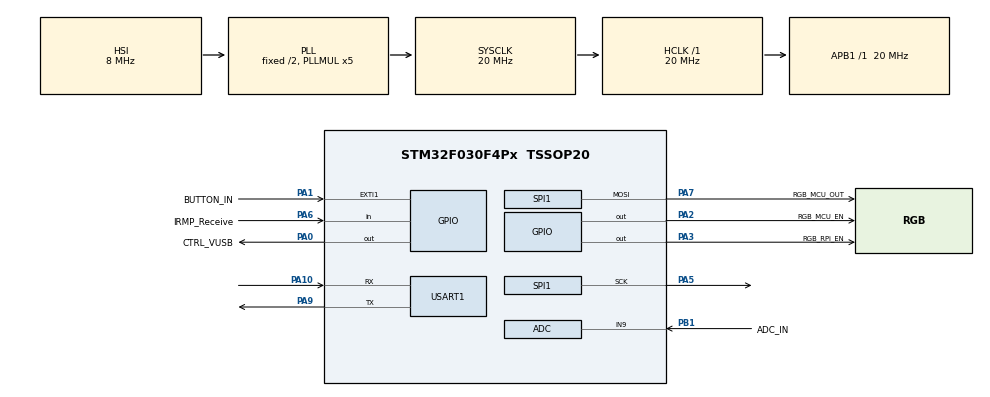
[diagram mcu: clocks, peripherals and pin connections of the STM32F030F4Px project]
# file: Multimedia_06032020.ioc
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Dma.Request0=SPI1_TX
Dma.SPI1_TX.0.Direction=DMA_MEMORY_TO_PERIPH
Dma.SPI1_TX.0.Instance=DMA1_Channel3
Dma.SPI1_TX.0.MemDataAlignment=DMA_MDATAALIGN_BYTE
Dma.SPI1_TX.0.MemInc=DMA_MINC_ENABLE
Dma.SPI1_TX.0.Mode=DMA_NORMAL
Dma.SPI1_TX.0.PeriphDataAlignment=DMA_PDATAALIGN_BYTE
Dma.SPI1_TX.0.PeriphInc=DMA_PINC_DISABLE
Dma.SPI1_TX.0.Priority=DMA_PRIORITY_LOW
Mcu.Family=STM32F0
Mcu.Name=STM32F030F4Px
Mcu.Package=TSSOP20
NVIC.DMA1_Channel2_3_IRQn=true\:0\:0\:false\:false\:true\:false\:true
NVIC.EXTI0_1_IRQn=true\:0\:0\:false\:true\:true\:3\:true\:true
NVIC.TIM14_IRQn=true\:0\:0\:false\:true\:true\:1\:true\:true
NVIC.TIM16_IRQn=true\:0\:0\:false\:false\:true\:true\:true
NVIC.TIM1_BRK_UP_TRG_COM_IRQn=true\:0\:0\:false\:false\:true\:true\:true
NVIC.TIM1_CC_IRQn=true\:0\:0\:false\:true\:true\:4\:true\:true
NVIC.USART1_IRQn=true\:0\:0\:false\:true\:true\:2\:true\:true
PA0.GPIO_Label=CTRL_VUSB
PA0.Signal=GPIO_Output
PA1.GPIO_Label=BUTTON_IN
PA1.GPIO_ModeDefaultEXTI=GPIO_MODE_IT_FALLING
PA1.GPIO_PuPd=GPIO_PULLUP
PA1.Signal=GPXTI1
PA10.Mode=Asynchronous
PA10.Signal=USART1_RX
PA2.GPIO_Label=RGB_MCU_EN
PA2.Signal=GPIO_Output
PA3.GPIO_Label=RGB_RPi_EN
PA3.Signal=GPIO_Output
PA5.Mode=TX_Only_Simplex_Unidirect_Master
PA5.Signal=SPI1_SCK
PA6.GPIO_Label=IRMP_Receive
PA6.Signal=GPIO_Input
PA7.GPIO_Label=RGB_MCU_OUT
PA7.Mode=TX_Only_Simplex_Unidirect_Master
PA7.Signal=SPI1_MOSI
PA9.Mode=Asynchronous
PA9.Signal=USART1_TX
PB1.GPIO_Label=ADC_IN
PB1.Mode=IN9
PB1.Signal=ADC_IN9
ProjectManager.HeapSize=0x200
ProjectManager.StackSize=0x400
ProjectManager.TargetToolchain=STM32CubeIDE
RCC.AHBFreq_Value=20000000
RCC.APB1Freq_Value=20000000
RCC.APB1TimFreq_Value=20000000
RCC.HCLKFreq_Value=20000000
RCC.PLLMUL=RCC_PLL_MUL5
RCC.SYSCLKFreq_VALUE=20000000
RCC.SYSCLKSource=RCC_SYSCLKSOURCE_PLLCLK
SPI1.CalculateBaudRate=10.0 MBits/s
SPI1.DataSize=SPI_DATASIZE_7BIT
SPI1.Direction=SPI_DIRECTION_2LINES
SPI1.Mode=SPI_MODE_MASTER
SPI1.VirtualType=VM_MASTER
TIM1.Period=50
TIM1.Prescaler=32000
TIM14.ClockDivision=TIM_CLOCKDIVISION_DIV2
TIM14.Period=1599
TIM16.Period=63999
TIM16.Prescaler=3124
USART1.VirtualMode-Asynchronous=VM_ASYNC
VP_TIM14_VS_ClockSourceINT.Mode=Enable_Timer
VP_TIM16_VS_ClockSourceINT.Mode=Enable_Timer
VP_TIM1_VS_ClockSourceINT.Mode=Internal
board=custom

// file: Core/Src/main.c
/* USER CODE BEGIN Header */
/**
  ******************************************************************************
  * @file           : main.c
  * @brief          : Main program body
  ******************************************************************************
  * @attention
  *
  * <h2><center>&copy; Copyright (c) 2020 STMicroelectronics.
  * All rights reserved.</center></h2>
  *
  * This software component is licensed by ST under BSD 3-Clause license,
  * the "License"; You may not use this file except in compliance with the
  * License. You may obtain a copy of the License at:
  *                        opensource.org/licenses/BSD-3-Clause
  *
  ******************************************************************************
  */
/************************************************************************************************************************************************************

 MultimediaCase for Raspberry Pi - by Joy-IT
 OpenSource-Firmware published under MIT-License

/************************************************************************************************************************************************************

 The following code defines the firmware for the STM32 controller of the RB-MultimediaCase01. The code uses the
 Infrared-Multiprotocoll-Decoder (IRMP - licensed under GNU General Public License v3.0) to recognize IR-remote signals
 and process these. The WS2812B LEDs can be controlled with the STM32 controller or with the Raspberry Pi. The Case Button
 is handled by an interrupt routine.
 The STM32 is mainly used to control the power status of the connected Raspberry Pi. It is able to power the Raspberry Pi via
 the 5 V pins and can send a shutdown-command via serial (which is processed via an addon). After shutdown of the Raspberry Pi
 the STM32 cuts the 5 V supply.
 During the different routines (starting, shutdown, learning) the STM32 takes the control of the 4 WS2812B and displays
 the actual active routine with the help of colors.

 */

/* USER CODE END Header */

#include "main.h"

/* USER CODE BEGIN Includes */
#include "irmp.h"
#include "ws28xx.h"
/* USER CODE END Includes */

/* USER CODE BEGIN PD */
IRMP_DATA irmp_data;
IRMP_DATA irmp_new_data;
IRMP_DATA irmp_temp_data;

PAGEError = 0;
/* USER CODE END PD */

ADC_HandleTypeDef hadc;

SPI_HandleTypeDef hspi1;
DMA_HandleTypeDef hdma_spi1_tx;

TIM_HandleTypeDef htim1;
TIM_HandleTypeDef htim14;
TIM_HandleTypeDef htim16;

UART_HandleTypeDef huart1;

/* USER CODE BEGIN PV */

/*** Definition of the shutdown message, which is send via the serial interface ***/

uint8_t shutdownMessage[] = "xxxShutdownRaspberryPixxx\n\r";

/* USER CODE END PV */

void SystemClock_Config(void);
static void MX_GPIO_Init(void);
static void MX_DMA_Init(void);
static void MX_ADC_Init(void);
static void MX_SPI1_Init(void);
static void MX_TIM14_Init(void);
static void MX_USART1_UART_Init(void);
static void MX_TIM1_Init(void);
static void MX_TIM16_Init(void);
static void MX_NVIC_Init(void);
/* USER CODE BEGIN PFP */
void RPi_Power_Up();
void RPi_Power_Down();

void RGB_RPi();
void RGB_MCU();

static void WS2812_ChangeColor(ws28xx_Color_TypeDef Color);

void flashConfig(void);

void flashValue(uint32_t address, uint32_t data);

void learningmode(void);

/* USER CODE END PFP */

int main(void)
{

  /* MCU Configuration--------------------------------------------------------*/

  /* Reset of all peripherals, Initializes the Flash interface and the Systick. */
  HAL_Init();

  /* Configure the system clock */
  SystemClock_Config();

  /* Initialize all configured peripherals */
  MX_GPIO_Init();
  MX_DMA_Init();
  MX_ADC_Init();
  MX_SPI1_Init();
  MX_TIM14_Init();
  MX_USART1_UART_Init();
  MX_TIM1_Init();
  MX_TIM16_Init();

  /* Initialize interrupts */
  MX_NVIC_Init();
  /* USER CODE BEGIN 2 */

  /*** Loading IRMP configuration from flash***/
  irmp_data.protocol = *(uint8_t *)irmp_protocol_FlashAdress;
  irmp_data.address = *(uint16_t *)irmp_address_FlashAdress;
  irmp_data.command = *(uint16_t *)irmp_command_FlashAdress;

  /*** Initialization of IRMP ***/
  irmp_init();

  /*** STM32 taking the controll over WS2812b LEDs and set these to red***/
  RGB_MCU();

	  WS2812_ChangeColor(ws28xx_Color_Red);
	  HAL_Delay(100);
	  WS2812_ChangeColor(ws28xx_Color_Red);

  /*** Making sure, that the Raspberry Pi is powered down ***/
  RPi_Power_Down();

  /* USER CODE END 2 */

  /* Infinite loop */
  /* USER CODE BEGIN WHILE */

  /*** Here starts the infinite loop. This loop manages the power status via button and IR-remote and the learning mode. ***/
  while (1)
  {
    /* USER CODE END WHILE */

    /* USER CODE BEGIN 3 */

	  /*** learning mode check ***/
	  if(!strcmp(Rx_data,"X04\r"))
	  	  {
		  	  strcpy(Rx_data, " ");
		  	  learningmode();
	  	  }

	  	  /*** checking for IRMP data or button press ***/
	  	  if (irmp_get_data (&irmp_temp_data) || button > 0)
	  	  	{
	  		  	  __HAL_TIM_DISABLE_IT(&htim14, TIM_IT_UPDATE);
	  		  	  HAL_NVIC_DisableIRQ(EXTI0_1_IRQn);
	  		  	  HAL_Delay(50);

	  		  	  /*** shutdown routine ***/

	  		  	  if (powerUP == 1)
	  		  	  {

		  		  	  if ((((irmp_temp_data.command == irmp_data.command) && (irmp_temp_data.address == irmp_data.address) && (irmp_temp_data.protocol == irmp_data.protocol) )|| (((button > 0)))))
		  		  	  {
		  		  		  memset(&irmp_temp_data, 0, sizeof(IRMP_DATA));
		  		  		  RGB_MCU();
		  		  		  HAL_UART_Transmit(&huart1, (uint8_t *)shutdownMessage, sizeof(shutdownMessage), sizeof(shutdownMessage));
		  		    	  WS2812_ChangeColor(ws28xx_Color_Black);
		  		    	  HAL_Delay(100);
		  		    	  __HAL_TIM_CLEAR_IT(&htim16 ,TIM_IT_UPDATE);
		  		    	  __HAL_TIM_SET_COUNTER(&htim16, 0);
		  		    	  HAL_TIM_Base_Start_IT(&htim16);
		  		    	  timer = shutDownTime;
		  		    	  while(timer > 0)
		  		    		  {
		  		    		  	  ws28xx_fadeRed();
		  		    		  }
		  		    	  WS2812_ChangeColor(ws28xx_Color_Red);
		  		  		  HAL_Delay(50);
		  		  		  RPi_Power_Down();
		  		  		  powerUP = 0;
		  		  		  button = 0;

		  		  	  }

					  }

					else if (powerUP == 0)
					{

						/*** powerup routine ***/

						if ((((irmp_temp_data.command == irmp_data.command) && (irmp_temp_data.address == irmp_data.address) && (irmp_temp_data.protocol == irmp_data.protocol) )||(( (button > 0)))))
						  {
							  memset(&irmp_temp_data, 0, sizeof(IRMP_DATA));

							  RPi_Power_Up();
							  WS2812_ChangeColor(ws28xx_Color_Black);
							  HAL_Delay(100);
							  __HAL_TIM_CLEAR_IT(&htim16 ,TIM_IT_UPDATE);
							  __HAL_TIM_SET_COUNTER(&htim16, 0);
							  HAL_TIM_Base_Start_IT(&htim16);
							  timer = bootUpTime;

							  /*** if startup complete "X05/r" is sent via serial interface, the timer is reseted ***/
							  while(timer > 0)
								  {
									  ws28xx_fadeGreen();
									  if(!strcmp(Rx_data,"X05\r"))
										  {
											  strcpy(Rx_data, " ");
											  timer = 0;
										  }
								  }
							  WS2812_ChangeColor(ws28xx_Color_Green);
							  HAL_Delay(50);

							  RGB_RPi();
							  powerUP = 1;
							  button = 0;

					}
					}

	  		  	__HAL_TIM_ENABLE_IT(&htim14, TIM_IT_UPDATE);

	  		  	__HAL_GPIO_EXTI_CLEAR_FLAG(BUTTON_IN_Pin);
	  		  	__HAL_GPIO_EXTI_CLEAR_IT(BUTTON_IN_Pin);
	  		  	  HAL_NVIC_ClearPendingIRQ(EXTI0_1_IRQn);
	  		  	  HAL_NVIC_EnableIRQ(EXTI0_1_IRQn);
	  		  	  HAL_Delay(50);
	  	  	}

	    }

  /* USER CODE END 3 */
}

void SystemClock_Config(void)
{
  RCC_OscInitTypeDef RCC_OscInitStruct = {0};
  RCC_ClkInitTypeDef RCC_ClkInitStruct = {0};
  RCC_PeriphCLKInitTypeDef PeriphClkInit = {0};

  /** Initializes the CPU, AHB and APB busses clocks
  */
  RCC_OscInitStruct.OscillatorType = RCC_OSCILLATORTYPE_HSI|RCC_OSCILLATORTYPE_HSI14;
  RCC_OscInitStruct.HSIState = RCC_HSI_ON;
  RCC_OscInitStruct.HSI14State = RCC_HSI14_ON;
  RCC_OscInitStruct.HSICalibrationValue = RCC_HSICALIBRATION_DEFAULT;
  RCC_OscInitStruct.HSI14CalibrationValue = 16;
  RCC_OscInitStruct.PLL.PLLState = RCC_PLL_ON;
  RCC_OscInitStruct.PLL.PLLSource = RCC_PLLSOURCE_HSI;
  RCC_OscInitStruct.PLL.PLLMUL = RCC_PLL_MUL5;
  RCC_OscInitStruct.PLL.PREDIV = RCC_PREDIV_DIV1;
  if (HAL_RCC_OscConfig(&RCC_OscInitStruct) != HAL_OK)
  {
    Error_Handler();
  }
  /** Initializes the CPU, AHB and APB busses clocks
  */
  RCC_ClkInitStruct.ClockType = RCC_CLOCKTYPE_HCLK|RCC_CLOCKTYPE_SYSCLK
                              |RCC_CLOCKTYPE_PCLK1;
  RCC_ClkInitStruct.SYSCLKSource = RCC_SYSCLKSOURCE_PLLCLK;
  RCC_ClkInitStruct.AHBCLKDivider = RCC_SYSCLK_DIV1;
  RCC_ClkInitStruct.APB1CLKDivider = RCC_HCLK_DIV1;

  if (HAL_RCC_ClockConfig(&RCC_ClkInitStruct, FLASH_LATENCY_0) != HAL_OK)
  {
    Error_Handler();
  }
  PeriphClkInit.PeriphClockSelection = RCC_PERIPHCLK_USART1;
  PeriphClkInit.Usart1ClockSelection = RCC_USART1CLKSOURCE_PCLK1;
  if (HAL_RCCEx_PeriphCLKConfig(&PeriphClkInit) != HAL_OK)
  {
    Error_Handler();
  }
}

/**
  * @brief NVIC Configuration.
  * @retval None
  */
static void MX_NVIC_Init(void)
{
  /* TIM14_IRQn interrupt configuration */
  HAL_NVIC_SetPriority(TIM14_IRQn, 0, 0);
  HAL_NVIC_EnableIRQ(TIM14_IRQn);
  /* USART1_IRQn interrupt configuration */
  HAL_NVIC_SetPriority(USART1_IRQn, 0, 0);
  HAL_NVIC_EnableIRQ(USART1_IRQn);
  /* EXTI0_1_IRQn interrupt configuration */
  HAL_NVIC_SetPriority(EXTI0_1_IRQn, 0, 0);
  HAL_NVIC_EnableIRQ(EXTI0_1_IRQn);
  /* TIM1_CC_IRQn interrupt configuration */
  HAL_NVIC_SetPriority(TIM1_CC_IRQn, 0, 0);
  HAL_NVIC_EnableIRQ(TIM1_CC_IRQn);
}

static void MX_ADC_Init(void)
{

  ADC_ChannelConfTypeDef sConfig = {0};

  /** Configure the global features of the ADC (Clock, Resolution, Data Alignment and number of conversion)
  */
  hadc.Instance = ADC1;
  hadc.Init.ClockPrescaler = ADC_CLOCK_ASYNC_DIV1;
  hadc.Init.Resolution = ADC_RESOLUTION_12B;
  hadc.Init.DataAlign = ADC_DATAALIGN_RIGHT;
  hadc.Init.ScanConvMode = ADC_SCAN_DIRECTION_FORWARD;
  hadc.Init.EOCSelection = ADC_EOC_SINGLE_CONV;
  hadc.Init.LowPowerAutoWait = DISABLE;
  hadc.Init.LowPowerAutoPowerOff = DISABLE;
  hadc.Init.ContinuousConvMode = DISABLE;
  hadc.Init.DiscontinuousConvMode = DISABLE;
  hadc.Init.ExternalTrigConv = ADC_SOFTWARE_START;
  hadc.Init.ExternalTrigConvEdge = ADC_EXTERNALTRIGCONVEDGE_NONE;
  hadc.Init.DMAContinuousRequests = DISABLE;
  hadc.Init.Overrun = ADC_OVR_DATA_PRESERVED;
  if (HAL_ADC_Init(&hadc) != HAL_OK)
  {
    Error_Handler();
  }
  /** Configure for the selected ADC regular channel to be converted.
  */
  sConfig.Channel = ADC_CHANNEL_9;
  sConfig.Rank = ADC_RANK_CHANNEL_NUMBER;
  sConfig.SamplingTime = ADC_SAMPLETIME_1CYCLE_5;
  if (HAL_ADC_ConfigChannel(&hadc, &sConfig) != HAL_OK)
  {
    Error_Handler();
  }

}

static void MX_SPI1_Init(void)
{

  /* SPI1 parameter configuration*/
  hspi1.Instance = SPI1;
  hspi1.Init.Mode = SPI_MODE_MASTER;
  hspi1.Init.Direction = SPI_DIRECTION_2LINES;
  hspi1.Init.DataSize = SPI_DATASIZE_7BIT;
  hspi1.Init.CLKPolarity = SPI_POLARITY_LOW;
  hspi1.Init.CLKPhase = SPI_PHASE_1EDGE;
  hspi1.Init.NSS = SPI_NSS_SOFT;
  hspi1.Init.BaudRatePrescaler = SPI_BAUDRATEPRESCALER_2;
  hspi1.Init.FirstBit = SPI_FIRSTBIT_MSB;
  hspi1.Init.TIMode = SPI_TIMODE_DISABLE;
  hspi1.Init.CRCCalculation = SPI_CRCCALCULATION_DISABLE;
  hspi1.Init.CRCPolynomial = 7;
  hspi1.Init.CRCLength = SPI_CRC_LENGTH_DATASIZE;
  hspi1.Init.NSSPMode = SPI_NSS_PULSE_ENABLE;
  if (HAL_SPI_Init(&hspi1) != HAL_OK)
  {
    Error_Handler();
  }

}

static void MX_TIM1_Init(void)
{

  TIM_ClockConfigTypeDef sClockSourceConfig = {0};
  TIM_MasterConfigTypeDef sMasterConfig = {0};

  htim1.Instance = TIM1;
  htim1.Init.Prescaler = 32000;
  htim1.Init.CounterMode = TIM_COUNTERMODE_UP;
  htim1.Init.Period = 50;
  htim1.Init.ClockDivision = TIM_CLOCKDIVISION_DIV1;
  htim1.Init.RepetitionCounter = 0;
  htim1.Init.AutoReloadPreload = TIM_AUTORELOAD_PRELOAD_DISABLE;
  if (HAL_TIM_Base_Init(&htim1) != HAL_OK)
  {
    Error_Handler();
  }
  sClockSourceConfig.ClockSource = TIM_CLOCKSOURCE_INTERNAL;
  if (HAL_TIM_ConfigClockSource(&htim1, &sClockSourceConfig) != HAL_OK)
  {
    Error_Handler();
  }
  sMasterConfig.MasterOutputTrigger = TIM_TRGO_RESET;
  sMasterConfig.MasterSlaveMode = TIM_MASTERSLAVEMODE_DISABLE;
  if (HAL_TIMEx_MasterConfigSynchronization(&htim1, &sMasterConfig) != HAL_OK)
  {
    Error_Handler();
  }

}

static void MX_TIM14_Init(void)
{

  htim14.Instance = TIM14;
  htim14.Init.Prescaler = 0;
  htim14.Init.CounterMode = TIM_COUNTERMODE_UP;
  htim14.Init.Period = 1599;
  htim14.Init.ClockDivision = TIM_CLOCKDIVISION_DIV2;
  htim14.Init.AutoReloadPreload = TIM_AUTORELOAD_PRELOAD_DISABLE;
  if (HAL_TIM_Base_Init(&htim14) != HAL_OK)
  {
    Error_Handler();
  }
  /* USER CODE BEGIN TIM14_Init 2 */
  HAL_TIM_Base_Start_IT(&htim14);
  /* USER CODE END TIM14_Init 2 */

}

static void MX_TIM16_Init(void)
{

  htim16.Instance = TIM16;
  htim16.Init.Prescaler = 3124;
  htim16.Init.CounterMode = TIM_COUNTERMODE_UP;
  htim16.Init.Period = 63999;
  htim16.Init.ClockDivision = TIM_CLOCKDIVISION_DIV1;
  htim16.Init.RepetitionCounter = 0;
  htim16.Init.AutoReloadPreload = TIM_AUTORELOAD_PRELOAD_DISABLE;
  if (HAL_TIM_Base_Init(&htim16) != HAL_OK)
  {
    Error_Handler();
  }

}

static void MX_USART1_UART_Init(void)
{

  huart1.Instance = USART1;
  huart1.Init.BaudRate = 38400;
  huart1.Init.WordLength = UART_WORDLENGTH_8B;
  huart1.Init.StopBits = UART_STOPBITS_1;
  huart1.Init.Parity = UART_PARITY_NONE;
  huart1.Init.Mode = UART_MODE_TX_RX;
  huart1.Init.HwFlowCtl = UART_HWCONTROL_NONE;
  huart1.Init.OverSampling = UART_OVERSAMPLING_16;
  huart1.Init.OneBitSampling = UART_ONE_BIT_SAMPLE_DISABLE;
  huart1.AdvancedInit.AdvFeatureInit = UART_ADVFEATURE_NO_INIT;
  if (HAL_UART_Init(&huart1) != HAL_OK)
  {
    Error_Handler();
  }
  /* USER CODE BEGIN USART1_Init 2 */
  HAL_UART_Receive_IT(&huart1, &RxBuffer, 1);
  /* USER CODE END USART1_Init 2 */

}

static void MX_DMA_Init(void)
{

  /* DMA controller clock enable */
  __HAL_RCC_DMA1_CLK_ENABLE();

  /* DMA interrupt init */
  /* DMA1_Channel2_3_IRQn interrupt configuration */
  HAL_NVIC_SetPriority(DMA1_Channel2_3_IRQn, 0, 0);
  HAL_NVIC_EnableIRQ(DMA1_Channel2_3_IRQn);

}

static void MX_GPIO_Init(void)
{
  GPIO_InitTypeDef GPIO_InitStruct = {0};

  /* GPIO Ports Clock Enable */
  __HAL_RCC_GPIOA_CLK_ENABLE();
  __HAL_RCC_GPIOB_CLK_ENABLE();

  /*Configure GPIO pin Output Level */
  HAL_GPIO_WritePin(GPIOA, CTRL_VUSB_Pin|RGB_MCU_EN_Pin|RGB_RPi_EN_Pin, GPIO_PIN_RESET);

  /*Configure GPIO pins : CTRL_VUSB_Pin RGB_MCU_EN_Pin RGB_RPi_EN_Pin */
  GPIO_InitStruct.Pin = CTRL_VUSB_Pin|RGB_MCU_EN_Pin|RGB_RPi_EN_Pin;
  GPIO_InitStruct.Mode = GPIO_MODE_OUTPUT_PP;
  GPIO_InitStruct.Pull = GPIO_NOPULL;
  GPIO_InitStruct.Speed = GPIO_SPEED_FREQ_LOW;
  HAL_GPIO_Init(GPIOA, &GPIO_InitStruct);

  /*Configure GPIO pin : BUTTON_IN_Pin */
  GPIO_InitStruct.Pin = BUTTON_IN_Pin;
  GPIO_InitStruct.Mode = GPIO_MODE_IT_FALLING;
  GPIO_InitStruct.Pull = GPIO_PULLUP;
  HAL_GPIO_Init(BUTTON_IN_GPIO_Port, &GPIO_InitStruct);

  /*Configure GPIO pin : IRMP_Receive_Pin */
  GPIO_InitStruct.Pin = IRMP_Receive_Pin;
  GPIO_InitStruct.Mode = GPIO_MODE_INPUT;
  GPIO_InitStruct.Pull = GPIO_NOPULL;
  HAL_GPIO_Init(IRMP_Receive_GPIO_Port, &GPIO_InitStruct);

}

/* USER CODE BEGIN 4 */

/*** Powering the Raspberry Pi with 5 V ***/

void RPi_Power_Up()
{
	HAL_GPIO_WritePin(CTRL_VUSB_GPIO_Port, CTRL_VUSB_Pin, GPIO_PIN_SET);
}

/*** Cutting 5 V supply of Rasperry Pi***/

void RPi_Power_Down()
{
	HAL_GPIO_WritePin(CTRL_VUSB_GPIO_Port, CTRL_VUSB_Pin, GPIO_PIN_RESET);
}

/*** Raspberry Pi has control over RGB LEDs ***/

void RGB_RPi()
{
	HAL_GPIO_WritePin(RGB_MCU_EN_GPIO_Port, RGB_MCU_EN_Pin, GPIO_PIN_SET);
	HAL_GPIO_WritePin(RGB_RPi_EN_GPIO_Port, RGB_RPi_EN_Pin, GPIO_PIN_RESET);
}

/*** STM32 takes the control of the RGB LEDs ***/

void RGB_MCU()
{
	HAL_GPIO_WritePin(RGB_MCU_EN_GPIO_Port, RGB_MCU_EN_Pin, GPIO_PIN_RESET);
	HAL_GPIO_WritePin(RGB_RPi_EN_GPIO_Port, RGB_RPi_EN_Pin, GPIO_PIN_SET);
}

/*** Controls all LEDs at once ***/

static void WS2812_ChangeColor(ws28xx_Color_TypeDef Color)
{
	  ws28xx_SetColor(0, Color);
	  ws28xx_SetColor(1, Color);
	  ws28xx_SetColor(2, Color);
	  ws28xx_SetColor(3, Color);
	  ws28xx_Update();
}

/*** Writes the IRMP config into flash ***/

void flashConfig(void)
{
	FLASH_EraseInitTypeDef EraseInitStruct;

	HAL_FLASH_Unlock();
	EraseInitStruct.TypeErase   = FLASH_TYPEERASE_PAGES;
	EraseInitStruct.PageAddress = 0x8007C00;
	EraseInitStruct.NbPages     = 1;

	 if (HAL_FLASHEx_Erase(&EraseInitStruct, &PAGEError) != HAL_OK)
	  {
	    /*
	      Error occurred while page erase.
	      User can add here some code to deal with this error.
	      PAGEError will contain the faulty page and then to know the code error on this page,
	      user can call function 'HAL_FLASH_GetError()'
	    */
	    /* Infinite loop */
	  }

	  flashValue(irmp_protocol_FlashAdress,irmp_new_data.protocol);
	  flashValue(irmp_address_FlashAdress,irmp_new_data.address);
	  flashValue(irmp_command_FlashAdress,irmp_new_data.command);

	HAL_FLASH_Lock();

}

void flashValue(uint32_t address, uint32_t data)
{
	 if (HAL_FLASH_Program(FLASH_TYPEPROGRAM_WORD, address , data) != HAL_OK)
	  {
	    /*
	      Error occurred while page erase.
	      User can add here some code to deal with this error.
	      PAGEError will contain the faulty page and then to know the code error on this page,
	      user can call function 'HAL_FLASH_GetError()'
	    */
	  }
}

/*** Function for learning a new IR-remote ***/

void learningmode()
{
	  uint8_t learningMode_on;

	  learningMode_on = 0;
	  RGB_MCU();
	  while (learningMode_on < 3)
	  {

		WS2812_ChangeColor(ws28xx_Color_Blue);
		HAL_Delay(300);
	  	WS2812_ChangeColor(ws28xx_Color_Orange);
		HAL_Delay(300);

		  /*** fetching IR data ***/
		  if(irmp_get_data (&irmp_temp_data))
	  	  	{
			  /*** checking IR repetition ***/
			  if(!(irmp_temp_data.flags & IRMP_FLAG_REPETITION))
			  {
	  		  	  WS2812_ChangeColor(ws28xx_Color_Black);
	  		  	  HAL_Delay(500);
	  		  	  if (learningMode_on == 0)
	  		  	  {
	  		  		  irmp_new_data = irmp_temp_data;
	  		  		  learningMode_on++;
	  		  		  WS2812_ChangeColor(ws28xx_Color_White);

		  			  HAL_Delay(350);
		  			  WS2812_ChangeColor(ws28xx_Color_Black);

		  			  HAL_Delay(350);
	  		  	  }
	  		  	  else
	  		  	  {
	  		  		  if (irmp_new_data.command == irmp_temp_data.command)
	  		  		  {
	  		  			irmp_new_data = irmp_temp_data;
	  		  			learningMode_on++;
	  		  			  WS2812_ChangeColor(ws28xx_Color_White);

	  		  			  HAL_Delay(350);
	  		  			  WS2812_ChangeColor(ws28xx_Color_Black);

	  		  			  HAL_Delay(350);
	  		  		  }
	  		  		  else
	  		  		  {
	  		  			WS2812_ChangeColor(ws28xx_Color_Red);

	  		  			  HAL_Delay(500);
	  		  			WS2812_ChangeColor(ws28xx_Color_Black);

	  		  			  HAL_Delay(350);
	  		  			  learningMode_on = 0;
	  		  		  }
	  		  	  }
	  		  	WS2812_ChangeColor(ws28xx_Color_Green);
	  		  	irmp_data = irmp_temp_data;
	  		  memset(&irmp_temp_data, 0, sizeof(IRMP_DATA));
	  	  	}
	  	  }
	  }
	flashConfig();
	HAL_Delay(2000);
	RGB_RPi();
	memset(&irmp_temp_data, 0, sizeof(IRMP_DATA));
}

void setButtonPressed()
{
	button = 1;
}

void setTimerReset()
{
	if (timer > 0)
	{
		timer--;
	}
	else
	{
		HAL_TIM_Base_Stop_IT(&htim16);
	}
}

/* USER CODE END 4 */

void Error_Handler(void)
{
}

/************************ (C) COPYRIGHT STMicroelectronics *****END OF FILE****/
